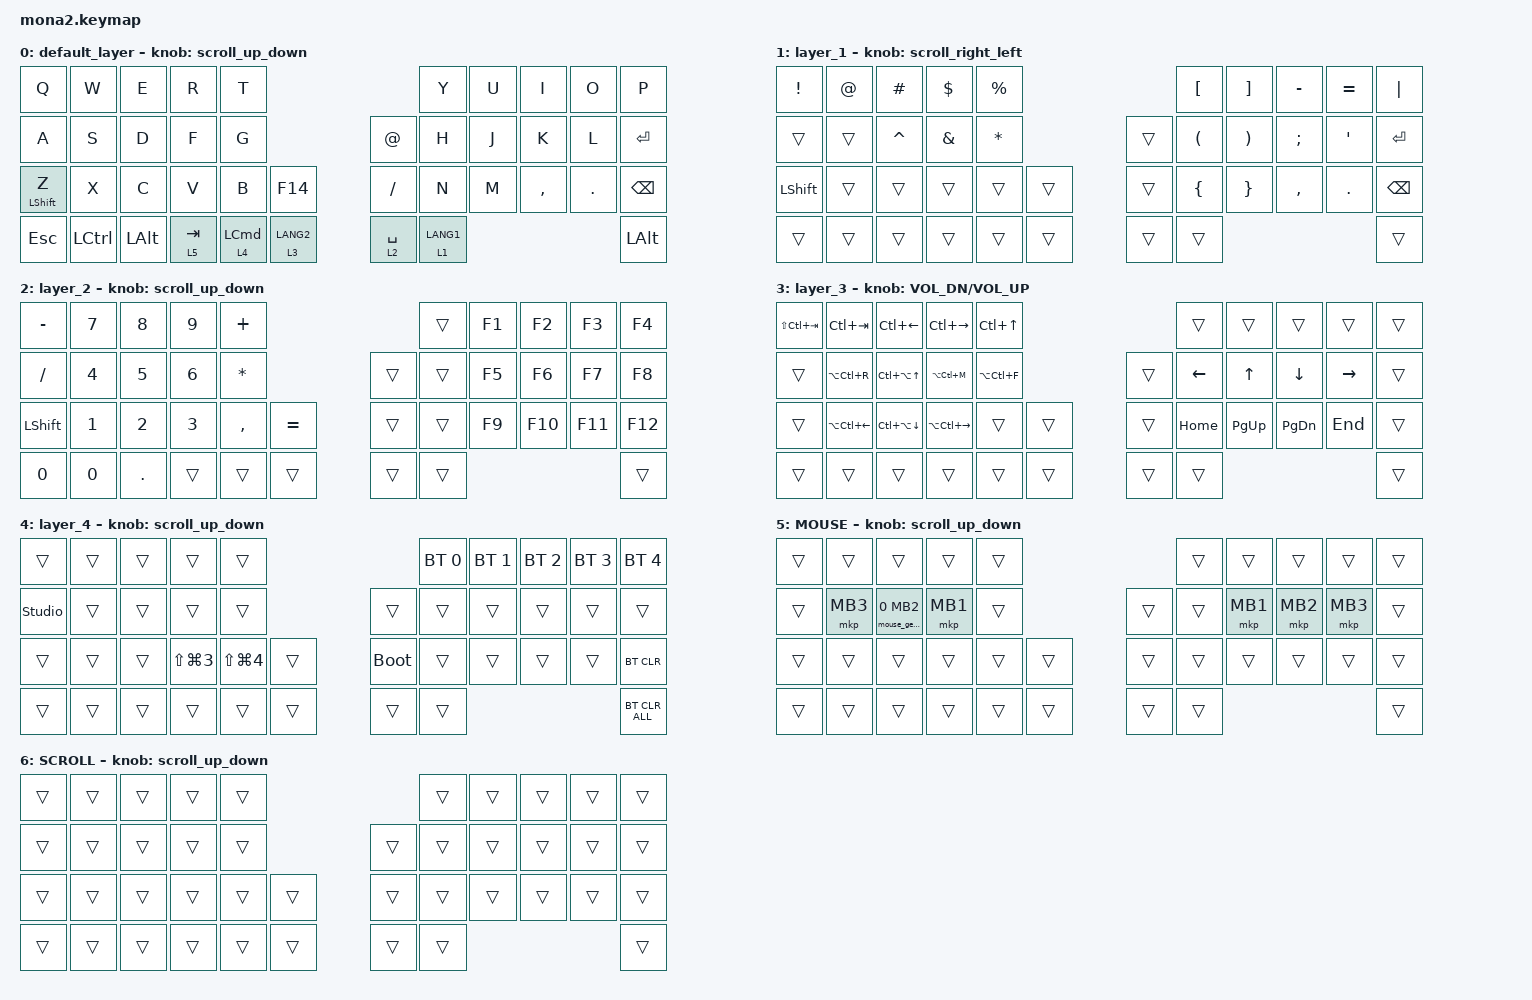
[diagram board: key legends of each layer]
#include <input/processors.dtsi>
#include <dt-bindings/zmk/input_transform.h>
#include <zephyr/dt-bindings/input/input-event-codes.h>
#include <behaviors.dtsi>
#include <dt-bindings/zmk/bt.h>
#include <dt-bindings/zmk/keys.h>
#include <dt-bindings/zmk/pointing.h>

#define ZMK_POINTING_DEFAULT_SCRL_VAL 100
#define MOUSE 5
#define SCROLL 6

&mt {
    flavor = "balanced";
    quick-tap-ms = <0>;
};

&lt {
    quick-tap-ms = <300>;
    flavor = "balanced";
};

/ {
    combos {
        compatible = "zmk,combos";

        layer4_ESC {
            bindings = <&lt 4 ESC>;
            key-positions = <39 38>;
        };

        delete {
            bindings = <&kp DELETE>;
            key-positions = <32 40>;
        };
    };

    macros {
        to_layer_0: to_layer_0 {
            compatible = "zmk,behavior-macro-one-param";
            #binding-cells = <1>;
            bindings = <&to 0 &macro_param_1to1 &kp MACRO_PLACEHOLDER>;
            label = "TO_LAYER_0";
        };
    };

    behaviors {
        lt_to_layer_0: lt_to_layer_0 {
            compatible = "zmk,behavior-hold-tap";
            label = "LAYER_TAP_TO_0";
            bindings = <&mo>, <&to_layer_0>;

            #binding-cells = <2>;
            tapping-term-ms = <200>;
        };

        scroll_up_down: mouse_wheel_up_down {
            compatible = "zmk,behavior-sensor-rotate";
            #sensor-binding-cells = <0>;
            bindings = <&msc SCRL_DOWN>, <&msc SCRL_UP>;

            tap-ms = <20>;
        };

        scroll_right_left: mouse_wheel_right_left {
            compatible = "zmk,behavior-sensor-rotate";
            #sensor-binding-cells = <0>;
            bindings = <&msc SCRL_LEFT>, <&msc SCRL_RIGHT>;

            tap-ms = <20>;
        };
    };

    keymap {
        compatible = "zmk,keymap";

        default_layer {
            bindings = <
&kp Q             &kp W             &kp E         &kp R                 &kp T                                                                 &kp Y        &kp U  &kp I      &kp O    &kp P
&kp A             &kp S             &kp D         &kp F                 &kp G                                         &kp AT_SIGN             &kp H        &kp J  &kp K      &kp L    &kp ENTER
&mt LEFT_SHIFT Z  &kp X             &kp C         &kp V                 &kp B               &kp F14                   &kp SLASH               &kp N        &kp M  &kp COMMA  &kp DOT  &kp BACKSPACE
&kp ESCAPE        &kp LEFT_CONTROL  &kp LEFT_ALT  &lt_to_layer_0 5 TAB  &lt 4 LEFT_COMMAND  &lt_to_layer_0 3 LANG2    &lt_to_layer_0 2 SPACE  &lt 1 LANG1                             &kp LEFT_ALT
            >;

            sensor-bindings = <&scroll_up_down>;
        };

        layer_1 {
            bindings = <
&kp EXCLAMATION  &kp AT_SIGN  &kp POUND  &kp DOLLAR     &kp PERCENT                     &kp LEFT_BRACKET      &kp RIGHT_BRACKET      &kp MINUS      &kp EQUAL   &kp PIPE
&trans           &trans       &kp CARET  &kp AMPERSAND  &kp ASTERISK            &trans  &kp LEFT_PARENTHESIS  &kp RIGHT_PARENTHESIS  &kp SEMICOLON  &kp SQT     &kp ENTER
&kp LEFT_SHIFT   &trans       &trans     &trans         &trans        &trans    &trans  &kp LEFT_BRACE        &kp RIGHT_BRACE        &kp COMMA      &kp PERIOD  &kp BACKSPACE
&trans           &trans       &trans     &trans         &trans        &trans    &trans  &trans                                                                  &trans
            >;

            sensor-bindings = <&scroll_right_left>;
        };

        layer_2 {
            bindings = <
&kp MINUS       &kp NUMBER_7  &kp NUMBER_8  &kp NUMBER_9  &kp PLUS                           &trans  &kp F1  &kp F2   &kp F3   &kp F4
&kp SLASH       &kp NUMBER_4  &kp NUMBER_5  &kp NUMBER_6  &kp ASTERISK               &trans  &trans  &kp F5  &kp F6   &kp F7   &kp F8
&kp LEFT_SHIFT  &kp NUMBER_1  &kp NUMBER_2  &kp NUMBER_3  &kp COMMA     &kp EQUAL    &trans  &trans  &kp F9  &kp F10  &kp F11  &kp F12
&kp NUMBER_0    &kp NUMBER_0  &kp DOT       &trans        &trans        &trans       &trans  &trans                            &trans
            >;

            sensor-bindings = <&scroll_up_down>;
        };

        layer_3 {
            bindings = <
&kp LS(LC(TAB))  &kp LC(TAB)             &kp LC(LEFT_ARROW)      &kp LC(RIGHT_ARROW)      &kp LC(UP_ARROW)                    &trans          &trans        &trans          &trans           &trans
&trans           &kp LA(LC(R))           &kp LC(LA(UP_ARROW))    &kp LA(LC(M))            &kp LA(LC(F))               &trans  &kp LEFT_ARROW  &kp UP_ARROW  &kp DOWN_ARROW  &kp RIGHT_ARROW  &trans
&trans           &kp LA(LC(LEFT_ARROW))  &kp LC(LA(DOWN_ARROW))  &kp LA(LC(RIGHT_ARROW))  &trans            &trans    &trans  &kp HOME        &kp PAGE_UP   &kp PAGE_DOWN   &kp END          &trans
&trans           &trans                  &trans                  &trans                   &trans            &trans    &trans  &trans                                                         &trans
            >;

            sensor-bindings = <&inc_dec_kp C_VOL_DN C_VOL_UP>;
        };

        layer_4 {
            bindings = <
&trans  &trans  &trans  &trans                &trans                                       &bt BT_SEL 0  &bt BT_SEL 1  &bt BT_SEL 2  &bt BT_SEL 3  &bt BT_SEL 4
&studio_unlock  &trans  &trans  &trans        &trans                          &trans       &trans        &trans        &trans        &trans        &trans
&trans  &trans  &trans  &kp LS(LG(NUMBER_3))  &kp LS(LG(NUMBER_4))  &trans    &bootloader  &trans        &trans        &trans        &trans        &bt BT_CLR
&trans  &trans  &trans  &trans                &trans                &trans    &trans       &trans                                                  &bt BT_CLR_ALL
            >;

            sensor-bindings = <&scroll_up_down>;
        };

        MOUSE {
            bindings = <
&trans  &trans    &trans    &trans    &trans                    &trans  &trans    &trans    &trans    &trans
&trans  &mkp MB3  &mouse_gesture_mkp 0 MB2  &mkp MB1  &trans            &trans  &trans  &mkp MB1  &mkp MB2  &mkp MB3  &trans
&trans  &trans    &trans    &trans    &trans  &trans    &trans  &trans  &trans    &trans    &trans    &trans
&trans  &trans    &trans    &trans    &trans  &trans    &trans  &trans                                &trans
            >;

            sensor-bindings = <&scroll_up_down>;
        };

        SCROLL {
            bindings = <
&trans  &trans  &trans  &trans  &trans                    &trans  &trans  &trans  &trans  &trans
&trans  &trans  &trans  &trans  &trans            &trans  &trans  &trans  &trans  &trans  &trans
&trans  &trans  &trans  &trans  &trans  &trans    &trans  &trans  &trans  &trans  &trans  &trans
&trans  &trans  &trans  &trans  &trans  &trans    &trans  &trans                          &trans
            >;

            sensor-bindings = <&scroll_up_down>;
        };
    };
};
